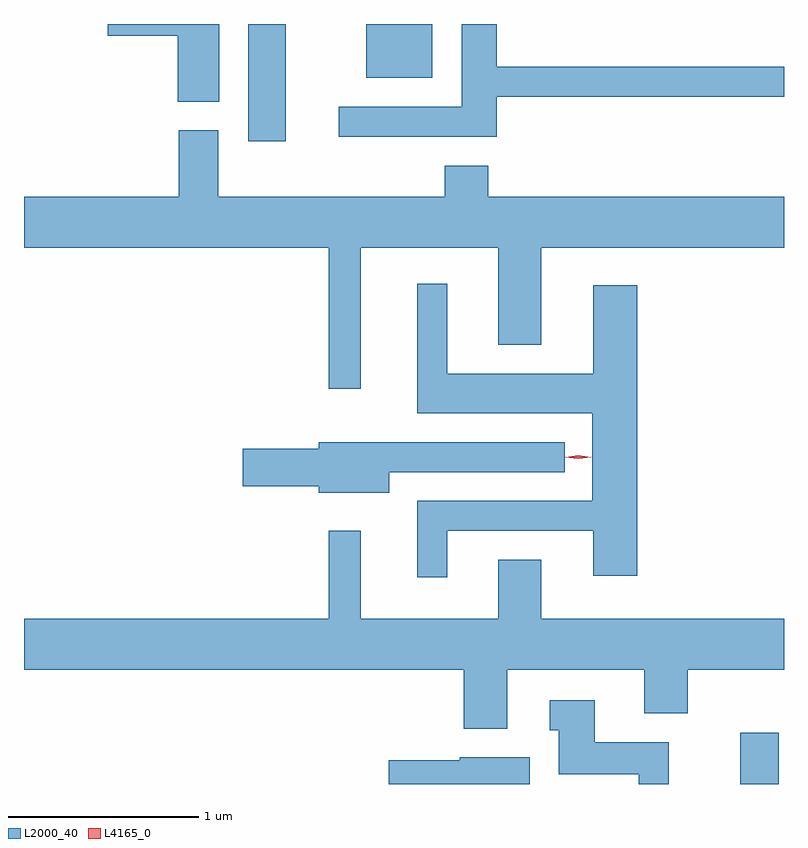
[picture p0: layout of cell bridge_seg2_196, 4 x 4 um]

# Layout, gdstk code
import gdstk
lib = gdstk.Library(unit=1e-6, precision=1e-09)
def R(c, l, rs):  # rectangles x0, y0, x1, y1
    for r in rs: c.add(gdstk.rectangle(r[:2], r[2:], *l))
def P(c, l, *ps):  # polygons
    for p in ps: c.add(gdstk.Polygon(p, *l))
L2000_40 = (2000, 40)
L4165_0 = (4165, 0)

bridge_seg2_196 = lib.new_cell('bridge_seg2_196')
R(bridge_seg2_196, L2000_40, [(900.536,1018.854,900.739,1019.124), (897.946,1022.236,898.144,1022.854), (898.566,1022.571,898.914,1022.854)])
P(bridge_seg2_196, L2000_40, [(899.254,1022.471),(900.766,1022.471),(900.766,1022.629),(899.254,1022.629),(899.254,1022.854),(899.071,1022.854),(899.071,1022.419),(898.423,1022.419),(898.423,1022.261),(899.254,1022.261)],
  [(897.794,1022.854),(897.206,1022.854),(897.206,1022.791),(897.576,1022.791),(897.576,1022.446),(897.794,1022.446)],
  [(897.789,1022.294),(897.581,1022.294),(897.581,1021.944),(896.766,1021.944),(896.766,1021.676),(898.371,1021.676),(898.371,1020.933),(898.539,1020.933),(898.539,1021.676),(899.261,1021.676),(899.261,1021.166),(899.489,1021.166),(899.489,1021.676),(900.766,1021.676),(900.766,1021.944),(899.209,1021.944),(899.209,1022.109),(898.981,1022.109),(898.981,1021.944),(897.789,1021.944)],
  [(898.994,1020.186),(899.761,1020.186),(899.761,1019.951),(899.994,1019.951),(899.994,1021.479),(899.761,1021.479),(899.761,1021.014),(898.994,1021.014),(898.994,1021.488),(898.836,1021.488),(898.836,1020.806),(899.756,1020.806),(899.756,1020.344),(898.836,1020.344),(898.836,1019.943),(898.994,1019.943)],
  [(898.689,1020.496),(899.613,1020.496),(899.613,1020.654),(898.316,1020.654),(898.316,1020.619),(897.916,1020.619),(897.916,1020.421),(898.316,1020.421),(898.316,1020.386),(898.689,1020.386)],
  [(899.309,1019.456),(900.031,1019.456),(900.031,1019.226),(900.259,1019.226),(900.259,1019.456),(900.766,1019.456),(900.766,1019.724),(899.489,1019.724),(899.489,1020.034),(899.261,1020.034),(899.261,1019.724),(898.539,1019.724),(898.539,1020.188),(898.371,1020.188),(898.371,1019.724),(896.766,1019.724),(896.766,1019.456),(899.081,1019.456),(899.081,1019.146),(899.309,1019.146)],
  [(900.159,1019.074),(899.769,1019.074),(899.769,1019.294),(899.533,1019.294),(899.533,1019.136),(899.581,1019.136),(899.581,1018.906),(900.001,1018.906),(900.001,1018.854),(900.159,1018.854)],
  [(899.429,1018.994),(899.06,1018.994),(899.06,1018.979),(898.686,1018.979),(898.686,1018.854),(899.429,1018.854)])
P(bridge_seg2_196, L4165_0, [(899.683,1020.565),(899.618,1020.574),(899.617,1020.575),(899.618,1020.575),(899.683,1020.585),(899.749,1020.575),(899.749,1020.575),(899.749,1020.574)],
  [(899.683,1020.565),(899.614,1020.574),(899.614,1020.575),(899.614,1020.575),(899.683,1020.585),(899.752,1020.575),(899.752,1020.575),(899.752,1020.574)])

lib.write_gds('bridge_seg2_196.gds')
